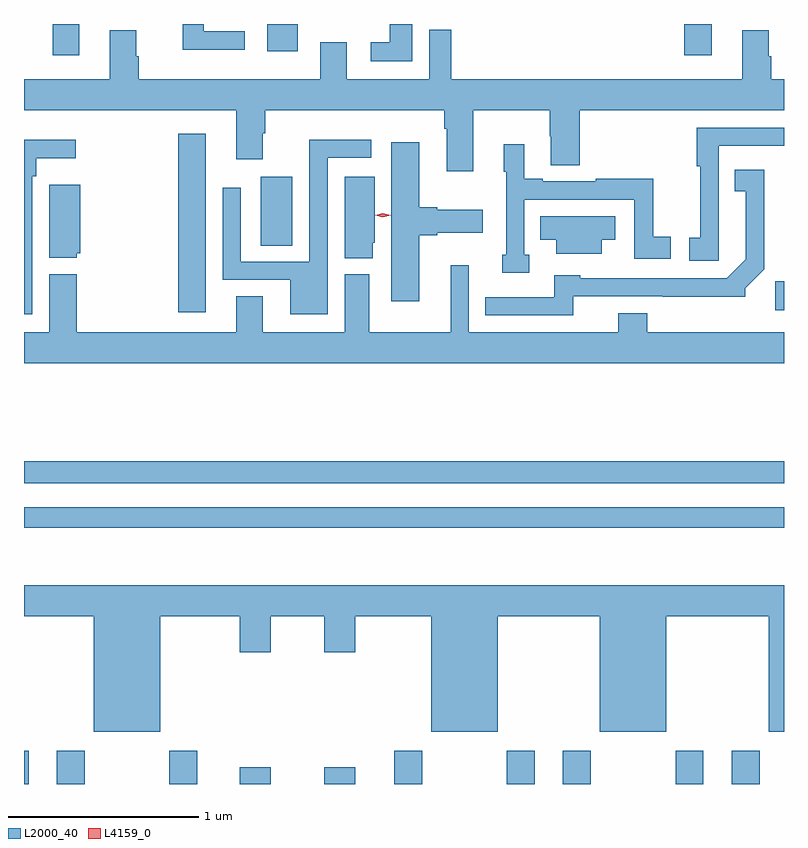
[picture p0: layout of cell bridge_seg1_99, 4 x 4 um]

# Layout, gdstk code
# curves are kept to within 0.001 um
import gdstk
lib = gdstk.Library(unit=1e-6, precision=1e-09)
def R(c, l, rs):  # rectangles x0, y0, x1, y1
    for r in rs: c.add(gdstk.rectangle(r[:2], r[2:], *l))
def A(c, l, x, y, w, h, nx, ny, dx, dy):  # array of equal rectangles
    R(c, l, [(x+i*dx, y+j*dy, x+i*dx+w, y+j*dy+h) for i in range(nx) for j in range(ny)])
def P(c, l, *ps):  # polygons
    for p in ps: c.add(gdstk.Polygon(p, *l))
L2000_40 = (2000, 40)
L4159_0 = (4159, 0)

bridge_seg1_99 = lib.new_cell('bridge_seg1_99')
A(bridge_seg1_99, L2000_40, 268.607, 501.566, 0.148, 0.176, 3, 1, 0.888, 0)
R(bridge_seg1_99, L2000_40, [(266.659,501.566,266.683,501.742), (266.831,501.566,266.979,501.742), (267.424,501.566,267.571,501.742), (267.794,501.566,267.958,501.655), (268.238,501.566,268.402,501.655), (269.2,501.566,269.347,501.742), (270.088,501.566,270.235,501.742), (266.659,502.914,270.659,503.022), (266.659,503.148,270.659,503.264), (267.47,504.048,267.616,504.988), (270.613,504.06,270.659,504.211), (267.905,504.4,268.072,504.763), (266.809,505.401,266.95,505.566), (270.134,505.401,270.28,505.566), (267.938,505.422,268.099,505.566)])
P(bridge_seg1_99, L2000_40, [(268.702,505.566),(268.583,505.566),(268.583,505.471),(268.485,505.471),(268.485,505.37),(268.702,505.37)],
  [(267.82,505.528),(267.604,505.528),(267.604,505.566),(267.495,505.566),(267.495,505.43),(267.82,505.43)],
  [(269.023,505.112),(269.425,505.112),(269.425,504.974),(269.432,504.974),(269.432,504.823),(269.585,504.823),(269.585,505.112),(270.659,505.112),(270.659,505.276),(270.593,505.276),(270.593,505.397),(270.58,505.397),(270.58,505.534),(270.44,505.534),(270.44,505.276),(268.907,505.276),(268.907,505.537),(268.791,505.537),(268.791,505.276),(268.357,505.276),(268.357,505.471),(268.217,505.471),(268.217,505.276),(267.263,505.276),(267.263,505.397),(267.25,505.397),(267.25,505.534),(267.11,505.534),(267.11,505.276),(266.659,505.276),(266.659,505.112),(267.776,505.112),(267.776,504.855),(267.916,504.855),(267.916,504.992),(267.929,504.992),(267.929,505.112),(268.871,505.112),(268.871,505.016),(268.883,505.016),(268.883,504.792),(269.023,504.792)],
  [(270.316,504.596),(270.315,504.596),(270.315,504.924),(270.659,504.924),(270.659,505.02),(270.199,505.02),(270.199,504.817),(270.217,504.817),(270.217,504.441),(270.159,504.441),(270.159,504.321),(270.316,504.321)],
  [(266.703,504.764),(266.723,504.764),(266.723,504.86),(266.932,504.86),(266.932,504.958),(266.659,504.958),(266.659,504.038),(266.703,504.038)],
  [(268.257,504.861),(268.486,504.861),(268.486,504.958),(268.161,504.958),(268.161,504.315),(267.801,504.315),(267.801,504.703),(267.705,504.703),(267.705,504.219),(268.061,504.219),(268.061,504.038),(268.257,504.038)],
  [(268.738,504.455),(268.834,504.455),(268.834,504.467),(269.074,504.467),(269.074,504.589),(268.834,504.589),(268.834,504.602),(268.738,504.602),(268.738,504.943),(268.592,504.943),(268.592,504.108),(268.738,504.108)],
  [(269.317,504.351),(269.292,504.351),(269.292,504.642),(269.871,504.642),(269.871,504.33),(270.064,504.33),(270.064,504.446),(269.97,504.446),(269.97,504.751),(269.668,504.751),(269.668,504.738),(269.389,504.738),(269.389,504.751),(269.293,504.751),(269.293,504.934),(269.183,504.934),(269.183,504.789),(269.196,504.789),(269.196,504.351),(269.177,504.351),(269.177,504.257),(269.317,504.257)],
  [(269.55,504.132),(270.456,504.131),(270.456,504.175),(270.555,504.274),(270.555,504.799),(270.4,504.799),(270.4,504.686),(270.458,504.686),(270.458,504.329),(270.357,504.228),(269.586,504.228),(269.586,504.244),(269.45,504.244),(269.45,504.129),(269.086,504.129),(269.086,504.033),(269.55,504.033)],
  [(268.495,504.414),(268.504,504.414),(268.504,504.763),(268.346,504.763),(268.346,504.334),(268.495,504.334)],
  [(266.937,504.36),(266.956,504.36),(266.956,504.721),(266.792,504.721),(266.792,504.335),(266.937,504.335)],
  [(269.701,504.431),(269.77,504.431),(269.77,504.553),(269.377,504.553),(269.377,504.431),(269.459,504.431),(269.459,504.356),(269.701,504.356)],
  [(270.659,503.944),(269.939,503.944),(269.939,504.043),(269.786,504.043),(269.786,503.944),(269.001,503.944),(269.001,504.295),(268.904,504.295),(268.904,503.944),(268.477,503.944),(268.477,504.249),(268.346,504.249),(268.346,503.944),(267.916,503.944),(267.916,504.134),(267.776,504.134),(267.776,503.944),(266.936,503.944),(266.936,504.25),(266.792,504.25),(266.792,503.944),(266.659,503.944),(266.659,503.78),(270.659,503.78)],
  [(267.376,502.448),(267.794,502.448),(267.794,502.26),(267.958,502.26),(267.958,502.448),(268.238,502.448),(268.238,502.26),(268.402,502.26),(268.402,502.448),(268.802,502.448),(268.802,501.842),(269.152,501.842),(269.152,502.448),(269.69,502.448),(269.69,501.842),(270.04,501.842),(270.04,502.448),(270.578,502.448),(270.578,501.842),(270.659,501.842),(270.659,502.612),(266.659,502.612),(266.659,502.448),(267.026,502.448),(267.026,501.842),(267.376,501.842)])
P(bridge_seg1_99, L4159_0, [(268.548,504.549),(268.508,504.559),(268.508,504.559),(268.508,504.559),(268.548,504.569),(268.588,504.56),(268.588,504.56),(268.588,504.56)])

lib.write_gds('bridge_seg1_99.gds')
